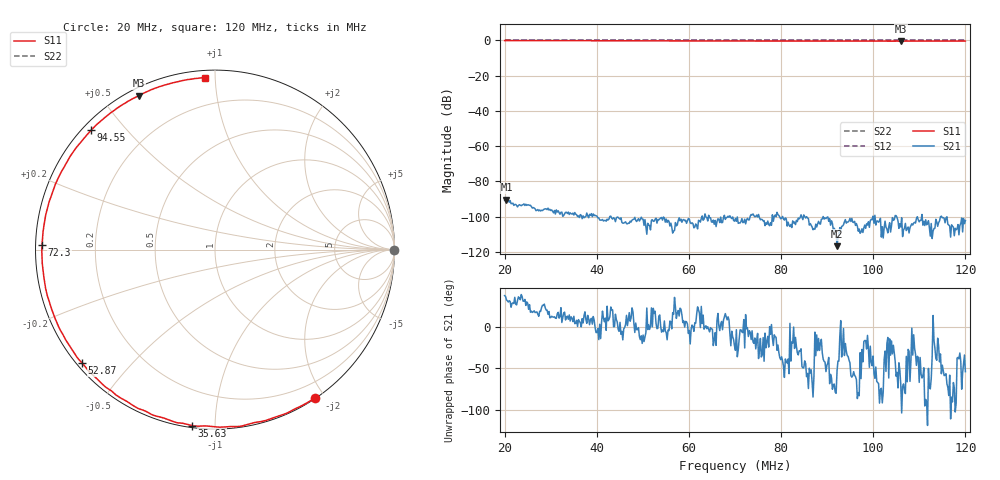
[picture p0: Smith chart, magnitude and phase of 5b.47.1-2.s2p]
! Anritsu VNA Master:  Model: MS2036C/10/77
! SN:  1601066
! /card0/usr/18may27.balun/5b.47.s2p
! Existing Calibration Information:
! TYPE:  Current Settings,  Active Cal Settings
! TIME:  05/27/2018 03:29:14 PM,  05/27/2018 03:21:57 PM
! INTERNAL TEMP:  52.8 C,  52.3 C
! # POINTS:  500,  500
! START FREQ:  20.000 MHz,  20.000 MHz
! STOP FREQ:  120.000 MHz,  120.000 MHz
! SOURCE POWER:  High,  High
! IFBW:  50 Hz,  50 Hz
! AVG FACTOR:  1 ,  1
! REF PLANE 1:  0 mm,  0 mm
! REF PLANE 2:  0 mm,  0 mm
! CAL TYPE:  Full S11,  Full S11
! CAL METHOD:  SOLT,  SOLT
! CAL LINE TYPE:  Coax,  Coax
! DUT PORT 1:  K-Conn(M),  K-Conn(M)
! DUT PORT 2:  K-Conn(M),  K-Conn(M)
! CAL STATUS:  OK: Accuracy High,  --
# GHZ S DB R 50.0
! FREQ.GHZ  S11DB  S11A  S21DB  S21A  S12DB  S12A  S22DB  S22A
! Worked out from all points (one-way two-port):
!   500 points, 20 MHz to 120 MHz, reference 50 ohm
!   highest |S21| = -90.40 dB at 20.4 MHz (marker M1); lowest = -116.8 dB at 92.14 MHz (marker M2)
!   lowest |S11| = -0.4 dB at 106 MHz (marker M3), VSWR 44.96, Z = 1.54 + j31.1 ohm
!   |S11| at or under -10 dB: nowhere
!   |S22| runs from 0.0 to 0.0 dB; largest |S21 - S12| = 1
!   S11 on the Smith chart (normalised r, x): 20 MHz: 0.01, -1.88; 35.63 MHz: 0.01, -0.88; 52.87 MHz: 0.02, -0.37; 72.3 MHz: 0.02, +0.01; 94.55 MHz: 0.02, +0.40; 120 MHz: 0.04, +0.94
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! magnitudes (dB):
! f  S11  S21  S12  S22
! 20 MHz  0.0  -90.8  0.0  0.0
! 20.4 MHz  0.0  -90.4  0.0  0.0
! 26.61 MHz  -0.1  -95.6  0.0  0.0
! 27.82 MHz  -0.1  -96.8  0.0  0.0
! 29.62 MHz  0.0  -96.3  0.0  0.0
! 33.63 MHz  -0.1  -98.2  0.0  0.0
! 35.63 MHz  -0.1  -98.9  0.0  0.0
! 36.83 MHz  -0.1  -101.2  0.0  0.0
! 37.84 MHz  -0.1  -98.0  0.0  0.0
! 39.24 MHz  -0.2  -98.5  0.0  0.0
! 40.84 MHz  -0.1  -102.0  0.0  0.0
! 41.84 MHz  -0.2  -102.1  0.0  0.0
! 52.87 MHz  -0.2  -100.9  0.0  0.0
! 53.47 MHz  -0.2  -101.8  0.0  0.0
! 70.1 MHz  -0.3  -101.1  0.0  0.0
! 72.3 MHz  -0.3  -104.1  0.0  0.0
! 86.73 MHz  -0.4  -105.9  0.0  0.0
! 92.14 MHz  -0.4  -116.8  0.0  0.0
! 94.55 MHz  -0.4  -103.1  0.0  0.0
! 103.4 MHz  -0.4  -105.8  0.0  0.0
! 106 MHz  -0.4  -105.9  0.0  0.0
! 120 MHz  -0.4  -102.2  0.0  0.0
